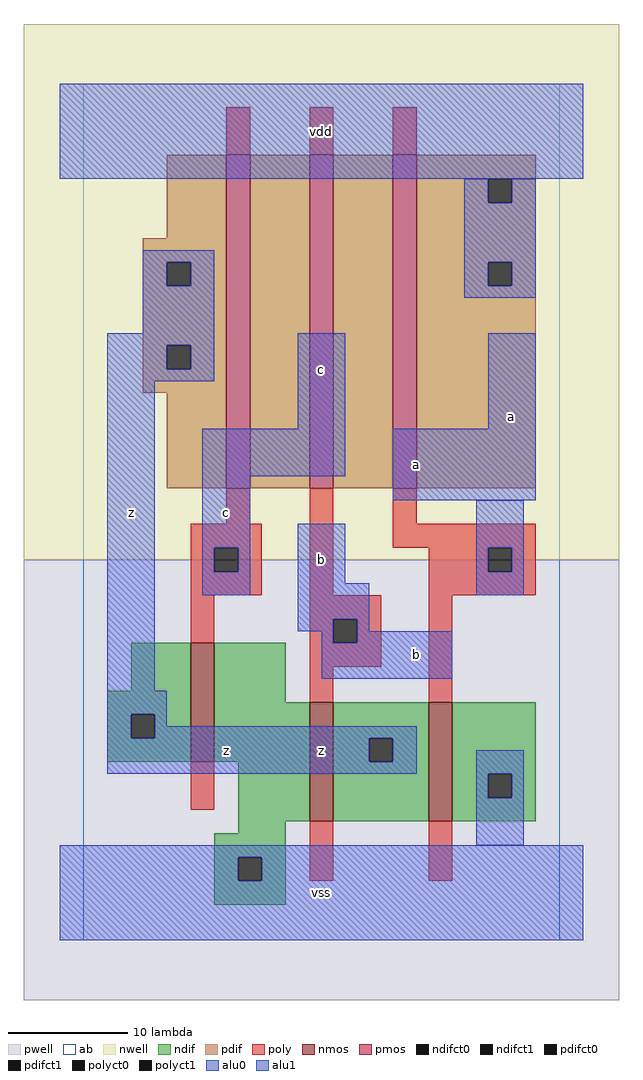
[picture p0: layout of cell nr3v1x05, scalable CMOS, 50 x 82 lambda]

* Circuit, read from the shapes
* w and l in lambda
.subckt nr3v1x05 a b c vdd vss z
M1 vss c z VSUBS nfet w=10 l=2
M2 z b vss VSUBS nfet w=10 l=2
M3 vss a z VSUBS nfet w=10 l=2
M4 n1 c z n2 pfet w=28 l=2
M5 n3 b n1 n2 pfet w=28 l=2
M6 vdd a n3 n2 pfet w=28 l=2
.ends

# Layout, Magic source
magic
tech scmos
<< ab >>
rect 0 0 40 72
<< nwell >>
rect -5 32 45 77
<< pwell >>
rect -5 -5 45 32
<< poly >>
rect 12 66 14 70
rect 19 66 21 70
rect 26 66 28 70
rect 12 35 14 38
rect 9 33 15 35
rect 9 31 11 33
rect 13 31 15 33
rect 9 29 15 31
rect 19 29 21 38
rect 26 35 28 38
rect 26 33 38 35
rect 29 31 34 33
rect 36 31 38 33
rect 29 29 38 31
rect 9 25 11 29
rect 19 27 25 29
rect 19 25 21 27
rect 23 25 25 27
rect 19 23 25 25
rect 19 20 21 23
rect 29 20 31 29
rect 9 11 11 15
rect 19 5 21 10
rect 29 5 31 10
<< ndif >>
rect 4 21 9 25
rect 2 19 9 21
rect 2 17 4 19
rect 6 17 9 19
rect 2 15 9 17
rect 11 20 17 25
rect 11 15 19 20
rect 13 10 19 15
rect 21 17 29 20
rect 21 15 24 17
rect 26 15 29 17
rect 21 10 29 15
rect 31 14 38 20
rect 31 12 34 14
rect 36 12 38 14
rect 31 10 38 12
rect 13 9 17 10
rect 11 7 17 9
rect 11 5 13 7
rect 15 5 17 7
rect 11 3 17 5
<< pdif >>
rect 7 59 12 66
rect 5 57 12 59
rect 5 55 7 57
rect 9 55 12 57
rect 5 50 12 55
rect 5 48 7 50
rect 9 48 12 50
rect 5 46 12 48
rect 7 38 12 46
rect 14 38 19 66
rect 21 38 26 66
rect 28 64 38 66
rect 28 62 34 64
rect 36 62 38 64
rect 28 57 38 62
rect 28 55 34 57
rect 36 55 38 57
rect 28 38 38 55
<< alu1 >>
rect -2 64 42 72
rect 5 57 11 58
rect 5 55 7 57
rect 9 55 11 57
rect 5 51 11 55
rect 2 50 11 51
rect 2 48 7 50
rect 9 48 11 50
rect 2 47 11 48
rect 2 21 6 47
rect 18 43 22 51
rect 34 43 38 51
rect 10 39 22 43
rect 10 33 14 39
rect 26 37 38 43
rect 10 31 11 33
rect 13 31 14 33
rect 10 29 14 31
rect 18 30 22 35
rect 18 27 24 30
rect 18 26 21 27
rect 20 25 21 26
rect 23 26 24 27
rect 23 25 31 26
rect 20 22 31 25
rect 2 19 7 21
rect 2 17 4 19
rect 6 18 7 19
rect 6 17 28 18
rect 2 15 24 17
rect 26 15 28 17
rect 2 14 28 15
rect -2 7 42 8
rect -2 5 13 7
rect 15 5 42 7
rect -2 0 42 5
<< nmos >>
rect 9 15 11 25
rect 19 10 21 20
rect 29 10 31 20
<< pmos >>
rect 12 38 14 66
rect 19 38 21 66
rect 26 38 28 66
<< polyct0 >>
rect 34 31 36 33
<< polyct1 >>
rect 11 31 13 33
rect 21 25 23 27
<< ndifct0 >>
rect 34 12 36 14
<< ndifct1 >>
rect 4 17 6 19
rect 24 15 26 17
rect 13 5 15 7
<< pdifct0 >>
rect 34 62 36 64
rect 34 55 36 57
<< pdifct1 >>
rect 7 55 9 57
rect 7 48 9 50
<< alu0 >>
rect 32 62 34 64
rect 36 62 38 64
rect 32 57 38 62
rect 32 55 34 57
rect 36 55 38 57
rect 32 54 38 55
rect 33 33 37 37
rect 33 31 34 33
rect 36 31 37 33
rect 33 29 37 31
rect 33 14 37 16
rect 33 12 34 14
rect 36 12 37 14
rect 33 8 37 12
<< labels >>
rlabel alu1 4 36 4 36 6 z
rlabel alu1 12 16 12 16 6 z
rlabel alu1 12 36 12 36 6 c
rlabel alu1 20 4 20 4 6 vss
rlabel alu1 20 4 20 4 6 vss
rlabel alu1 20 16 20 16 6 z
rlabel alu1 20 32 20 32 6 b
rlabel alu1 28 24 28 24 6 b
rlabel alu1 28 40 28 40 6 a
rlabel alu1 20 48 20 48 6 c
rlabel alu1 20 68 20 68 6 vdd
rlabel alu1 20 68 20 68 6 vdd
rlabel alu1 36 44 36 44 6 a
<< end >>
